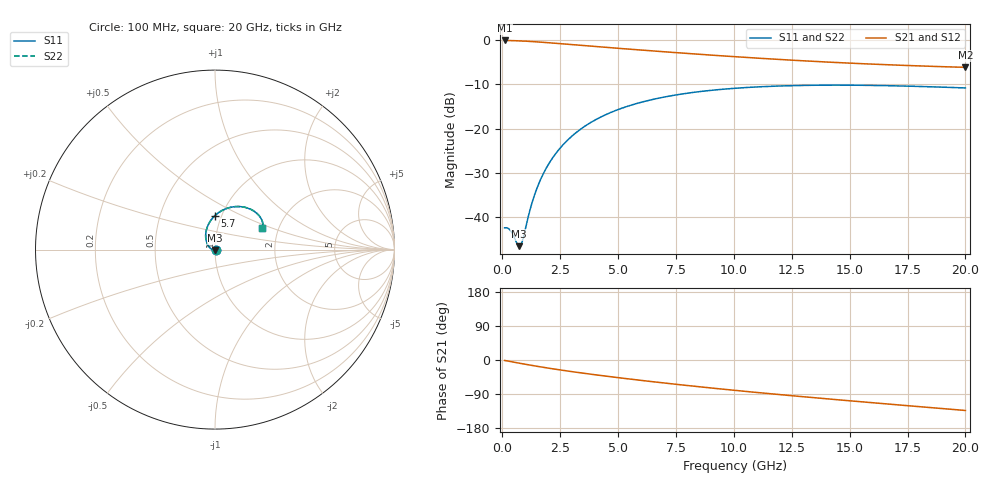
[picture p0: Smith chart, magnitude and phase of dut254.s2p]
! Touchstone file exported from HFSS 2024.1.0
!  File:  C:/UserFiles/LocalFiles/RDL_TSV_Batchsim/temp_RDL_TSV_254_1779457480.aedt
!  Generated:  09:58:36 PM May 22, 2026
!  Design:  RDL_TSV
!  Project:  temp_RDL_TSV_254_1779457480
!  Setup:  Setup1
!  Solution:  Sweep
! Variables:
!  dtsv = 7.9um
!  hbump = 3um
!  htsv = 67.28um
!  ldown = 233.09um
!  lrdl = 281.89um
!  p = 40
!  p1 = 46.35um
!  rhole = 10um
!  subl = 1826.83um
!  t = 450um
!  tdown = 4.73um
!  trdl = 4.11um
!  viad = 10um
!  wdown = 27.19um
!  wrdl = 22.36um
!  xbump = 18um
# GHz S MA R 50.000000
! Terminal data exported
! Port[1] = TM1_1_T1
! Port[2] = TM1_4_T1
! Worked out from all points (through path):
!   200 points, 100 MHz to 20 GHz, reference 50 ohm
!   highest |S21| = -0.07 dB at 100 MHz (marker M1); lowest = -6.1 dB at 20 GHz (marker M2)
!   group delay of S21, straight-line fit = 17.6 ps
!   lowest |S11| = -46.6 dB at 700 MHz (marker M3), VSWR 1.01, Z = 50.1 - j0.457 ohm
!   |S11| at or under -10 dB: start of sweep to end of sweep
!   |S22| runs from -46.6 to -10.2 dB; largest |S21 - S12| = 2.5e-14
!   S11 on the Smith chart (normalised r, x): 100 MHz: 1.02, -0.00; 5.7 GHz: 0.93, +0.36; 20 GHz: 1.64, +0.43
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0.1  0.007578 -3.2  0.9921 -1.2  0.9921 -1.2  0.007577 -3.2
! Gamma 0 0 0 0
! Port Impedance 50 0 50 0
0.3  0.007317 -15.9  0.9898 -3.5  0.9898 -3.5  0.007315 -15.9
0.4  0.006771 -25.2  0.9883 -4.7  0.9883 -4.7  0.006769 -25.2
0.7  0.004693 -76.1  0.9823 -8.0  0.9823 -8.0  0.004689 -76.2
0.8  0.004766 -103.7  0.9797 -9.1  0.9797 -9.1  0.004766 -103.8
0.9  0.005705 -129.2  0.977 -10.2  0.977 -10.2  0.00571 -129.3
1.2  0.01214 -170.7  0.9674 -13.5  0.9674 -13.5  0.01216 -170.8
1.4  0.01804 175.9  0.9601 -15.6  0.9601 -15.6  0.01807 175.9
1.6  0.02472 166.4  0.9522 -17.6  0.9522 -17.6  0.02476 166.4
1.9  0.0358 155.6  0.9396 -20.6  0.9396 -20.6  0.03586 155.6
2.2  0.0478 146.9  0.9264 -23.5  0.9264 -23.5  0.04787 146.9
2.6  0.06466 137.1  0.9085 -27.1  0.9085 -27.1  0.06476 137.1
3  0.082 128.8  0.8908 -30.7  0.8908 -30.7  0.08212 128.8
3.5  0.1037 119.7  0.8691 -34.9  0.8691 -34.9  0.1038 119.7
4.5  0.1451 104.6  0.8282 -42.8  0.8282 -42.8  0.1453 104.6
5.7  0.1888 90.2  0.7832 -51.7  0.7832 -51.7  0.1891 90.2
6.8  0.2223 79.4  0.7453 -59.4  0.7453 -59.4  0.2226 79.4
8.3  0.2577 67.3  0.6982 -69.3  0.6982 -69.3  0.2581 67.3
10.1  0.2865 55.7  0.6486 -80.5  0.6486 -80.5  0.2869 55.7
13.4  0.309 40.0  0.5766 -99.1  0.5766 -99.1  0.3094 40.1
16.7  0.3056 29.8  0.5264 -116.4  0.5264 -116.4  0.3059 29.9
20  0.2883 24.3  0.4926 -133.2  0.4926 -133.2  0.2885 24.3
